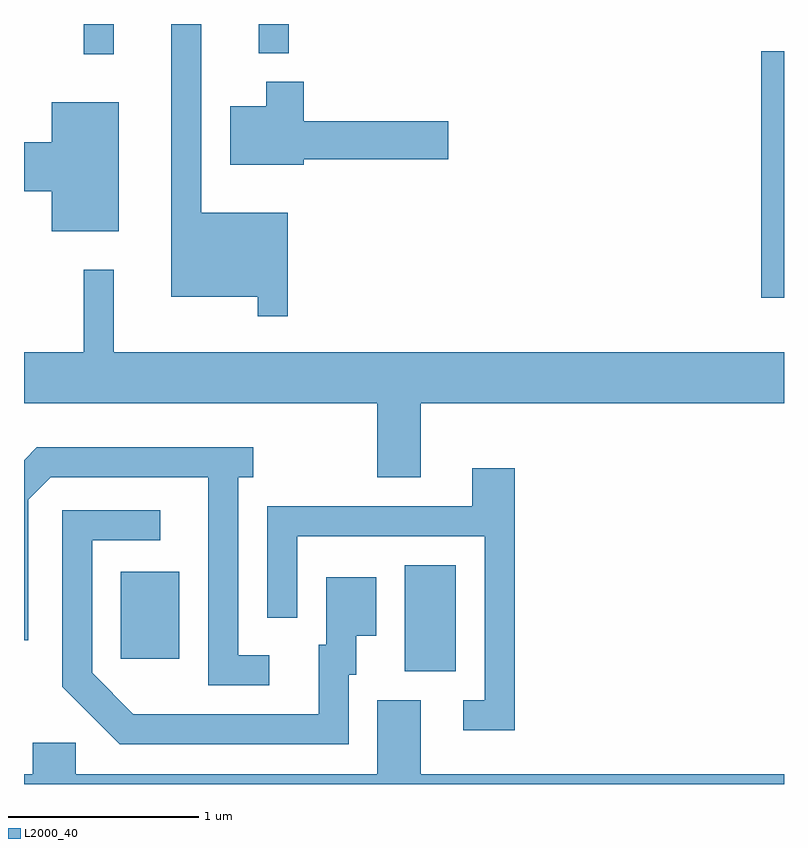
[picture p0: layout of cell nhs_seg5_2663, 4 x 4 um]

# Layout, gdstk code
import gdstk
lib = gdstk.Library(unit=1e-6, precision=1e-09)
def R(c, l, rs):  # rectangles x0, y0, x1, y1
    for r in rs: c.add(gdstk.rectangle(r[:2], r[2:], *l))
def P(c, l, *ps):  # polygons
    for p in ps: c.add(gdstk.Polygon(p, *l))
L2000_40 = (2000, 40)

nhs_seg5_2663 = lib.new_cell('nhs_seg5_2663')
R(nhs_seg5_2663, L2000_40, [(265.616,1508.666,265.884,1509.224), (264.121,1508.731,264.429,1509.189), (267.491,1510.631,267.611,1511.929), (263.926,1511.913,264.084,1512.072), (264.846,1511.918,265.004,1512.072)])
P(nhs_seg5_2663, L2000_40, [(264.999,1511.079),(264.544,1511.079),(264.544,1512.072),(264.386,1512.072),(264.386,1510.636),(264.841,1510.636),(264.841,1510.533),(264.999,1510.533)],
  [(265.084,1511.361),(265.844,1511.361),(265.844,1511.559),(265.084,1511.559),(265.084,1511.769),(264.886,1511.769),(264.886,1511.639),(264.696,1511.639),(264.696,1511.331),(265.084,1511.331)],
  [(264.109,1511.659),(263.756,1511.659),(263.756,1511.449),(263.611,1511.449),(263.611,1511.191),(263.756,1511.191),(263.756,1510.981),(264.109,1510.981)],
  [(265.699,1510.076),(267.611,1510.076),(267.611,1510.344),(264.084,1510.344),(264.084,1510.778),(263.926,1510.778),(263.926,1510.344),(263.611,1510.344),(263.611,1510.076),(265.471,1510.076),(265.471,1509.686),(265.699,1509.686)],
  [(264.903,1508.749),(264.739,1508.749),(264.739,1509.686),(264.818,1509.686),(264.818,1509.844),(263.679,1509.844),(263.611,1509.776),(263.611,1508.828),(263.634,1508.828),(263.634,1509.569),(263.752,1509.686),(264.581,1509.686),(264.581,1508.591),(264.903,1508.591)],
  [(266.194,1509.734),(265.971,1509.734),(265.971,1509.534),(264.891,1509.534),(264.891,1508.948),(265.049,1508.948),(265.049,1509.376),(266.036,1509.376),(266.036,1508.514),(265.923,1508.514),(265.923,1508.356),(266.194,1508.356)],
  [(265.319,1508.646),(265.359,1508.646),(265.359,1508.851),(265.464,1508.851),(265.464,1509.159),(265.201,1509.159),(265.201,1508.804),(265.161,1508.804),(265.161,1508.439),(264.187,1508.439),(263.969,1508.657),(263.969,1509.356),(264.328,1509.356),(264.328,1509.514),(263.811,1509.514),(263.811,1508.584),(264.114,1508.281),(265.319,1508.281)],
  [(267.611,1508.124),(265.699,1508.124),(265.699,1508.514),(265.471,1508.514),(265.471,1508.124),(263.884,1508.124),(263.884,1508.289),(263.656,1508.289),(263.656,1508.124),(263.611,1508.124),(263.611,1508.072),(267.611,1508.072)])

lib.write_gds('nhs_seg5_2663.gds')
